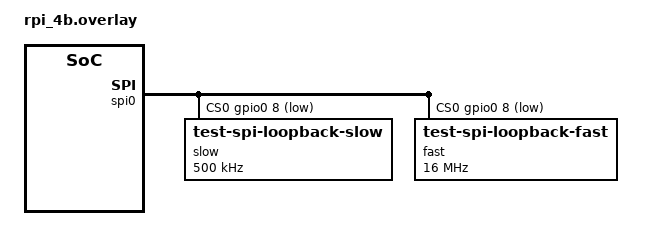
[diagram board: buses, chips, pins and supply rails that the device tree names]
/*
 * Copyright (c) 2023 Chen Xingyu <hi@xingrz.me>
 * SPDX-License-Identifier: Apache-2.0
 */

#include <freq.h>
#include <zephyr/dt-bindings/pinctrl/bcm2711-pinctrl.h>

&pinctrl {
	spi0_default: spi0_default {
		group1 {
			pinmux = <GPIO9_SPI0_MISO>,
				 <GPIO10_SPI0_MOSI>,
				 <GPIO11_SPI0_SCLK>;
		};
	};
};

&gpio0 {
	status = "okay";
};

&spi0 {
	status = "okay";
	pinctrl-0 = <&spi0_default>;
	pinctrl-names = "default";

	cs-gpios = <&gpio0 8 GPIO_ACTIVE_LOW>;

	slow@0 {
		compatible = "test-spi-loopback-slow";
		reg = <0>;
		spi-max-frequency = <DT_FREQ_K(500)>;
	};

	fast@0 {
		compatible = "test-spi-loopback-fast";
		reg = <0>;
		spi-max-frequency = <DT_FREQ_M(16)>;
	};
};
